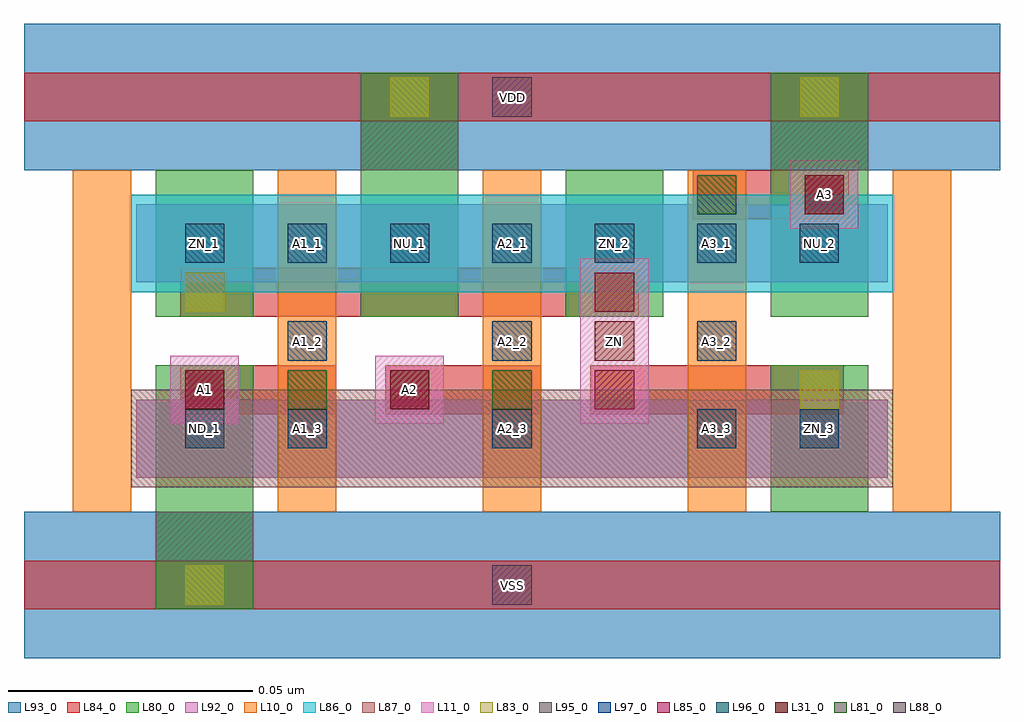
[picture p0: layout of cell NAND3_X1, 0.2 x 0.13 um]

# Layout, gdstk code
import gdstk
lib = gdstk.Library(unit=1e-6, precision=1e-09)
def R(c, l, rs):  # rectangles x0, y0, x1, y1
    for r in rs: c.add(gdstk.rectangle(r[:2], r[2:], *l))
def A(c, l, x, y, w, h, nx, ny, dx, dy):  # array of equal rectangles
    R(c, l, [(x+i*dx, y+j*dy, x+i*dx+w, y+j*dy+h) for i in range(nx) for j in range(ny)])
L10_0 = (10, 0)
L11_0 = (11, 0)
L31_0 = (31, 0)
L80_0 = (80, 0)
L81_0 = (81, 0)
L83_0 = (83, 0)
L84_0 = (84, 0)
L85_0 = (85, 0)
L86_0 = (86, 0)
L87_0 = (87, 0)
L88_0 = (88, 0)
L92_0 = (92, 0)
L93_0 = (93, 0)
L95_0 = (95, 0)
L96_0 = (96, 0)
L97_0 = (97, 0)

nand3_x1 = lib.new_cell('NAND3_X1')
A(nand3_x1, L10_0, -0.027, 0.015, 0.012, 0.07, 5, 1, 0.042, 0)
R(nand3_x1, L11_0, [(-0.007,0.033,0.007,0.047), (0.035,0.033,0.049,0.047), (0.077,0.033,0.091,0.067), (0.077,0.033,0.091,0.067), (0.12,0.073,0.134,0.087)])
R(nand3_x1, L31_0, [(-0.004,0.036,0.004,0.044), (0.038,0.036,0.046,0.044), (0.08,0.046,0.088,0.054), (0.123,0.076,0.131,0.084)])
A(nand3_x1, L80_0, -0.01, 0.055, 0.02, 0.03, 4, 1, 0.042, 0)
R(nand3_x1, L80_0, [(-0.01,-0.005,0.01,0.025), (-0.01,0.015,0.01,0.045), (0.116,0.015,0.136,0.045), (0.032,0.075,0.052,0.105), (0.116,0.075,0.136,0.105)])
R(nand3_x1, L81_0, [(0.017,0.036,0.025,0.044), (0.059,0.036,0.067,0.044), (0.101,0.076,0.109,0.084)])
R(nand3_x1, L83_0, [(-0.004,-0.004,0.004,0.004), (0.122,0.036,0.13,0.044), (0.122,0.036,0.13,0.044), (-0.004,0.056,0.004,0.064), (-0.004,0.056,0.004,0.064), (0.08,0.056,0.088,0.064), (0.08,0.056,0.088,0.064), (0.038,0.096,0.046,0.104), (0.038,0.096,0.046,0.104), (0.122,0.096,0.13,0.104)])
R(nand3_x1, L84_0, [(-0.037,-0.005,0.163,0.005), (-0.005,0.035,0.027,0.045), (0.037,0.035,0.069,0.045), (0.079,0.035,0.11,0.045), (0.079,0.035,0.11,0.045), (0.1,0.035,0.131,0.045), (0.1,0.035,0.131,0.045), (-0.005,0.055,0.026,0.065), (-0.005,0.055,0.026,0.065), (0.016,0.055,0.047,0.065), (0.016,0.055,0.047,0.065), (0.037,0.055,0.068,0.065), (0.037,0.055,0.068,0.065), (0.058,0.055,0.089,0.065), (0.058,0.055,0.089,0.065), (0.1,0.075,0.132,0.085), (-0.037,0.095,0.163,0.105)])
A(nand3_x1, L85_0, -0.004, 0.036, 0.008, 0.008, 3, 1, 0.042, 0)
R(nand3_x1, L85_0, [(0.08,0.036,0.088,0.044), (0.08,0.056,0.088,0.064), (0.08,0.056,0.088,0.064), (0.123,0.076,0.131,0.084)])
R(nand3_x1, L86_0, [(-0.015,0.06,0.141,0.08)])
R(nand3_x1, L87_0, [(-0.015,0.02,0.141,0.04)])
R(nand3_x1, L88_0, [(0.059,-0.004,0.067,0.004), (0.059,0.096,0.067,0.104)])
R(nand3_x1, L92_0, [(-0.014,0.022,0.14,0.038), (-0.014,0.062,0.14,0.078)])
R(nand3_x1, L93_0, [(-0.037,-0.015,0.163,0.015), (-0.037,0.085,0.163,0.115)])
R(nand3_x1, L95_0, [(-0.01,0.005,0.01,0.015), (0.032,0.085,0.052,0.095), (0.116,0.085,0.136,0.095)])
A(nand3_x1, L96_0, -0.004, 0.066, 0.008, 0.008, 4, 1, 0.042, 0)
R(nand3_x1, L96_0, [(-0.004,0.028,0.004,0.036), (0.122,0.028,0.13,0.036)])
A(nand3_x1, L97_0, 0.017, 0.028, 0.008, 0.008, 3, 2, 0.042, 0.018)
A(nand3_x1, L97_0, 0.017, 0.066, 0.008, 0.008, 3, 1, 0.042, 0)
nand3_x1.add(gdstk.Label('A1_1', (0.021,0.07), layer=97, texttype=0))
nand3_x1.add(gdstk.Label('A1_2', (0.021,0.05), layer=97, texttype=0))
nand3_x1.add(gdstk.Label('A1_3', (0.021,0.032), layer=97, texttype=0))
nand3_x1.add(gdstk.Label('A2_3', (0.063,0.032), layer=97, texttype=0))
nand3_x1.add(gdstk.Label('A2_2', (0.063,0.05), layer=97, texttype=0))
nand3_x1.add(gdstk.Label('A2_1', (0.063,0.07), layer=97, texttype=0))
nand3_x1.add(gdstk.Label('A3_3', (0.105,0.032), layer=97, texttype=0))
nand3_x1.add(gdstk.Label('A3_2', (0.105,0.05), layer=97, texttype=0))
nand3_x1.add(gdstk.Label('A3_1', (0.105,0.07), layer=97, texttype=0))
nand3_x1.add(gdstk.Label('ND_1', (0,0.032), layer=96, texttype=0))
nand3_x1.add(gdstk.Label('ZN_1', (0,0.07), layer=96, texttype=0))
nand3_x1.add(gdstk.Label('NU_1', (0.042,0.07), layer=96, texttype=0))
nand3_x1.add(gdstk.Label('ZN_2', (0.084,0.07), layer=96, texttype=0))
nand3_x1.add(gdstk.Label('ZN_3', (0.126,0.032), layer=96, texttype=0))
nand3_x1.add(gdstk.Label('NU_2', (0.126,0.07), layer=96, texttype=0))
nand3_x1.add(gdstk.Label('VSS', (0.063,0), layer=88, texttype=0))
nand3_x1.add(gdstk.Label('VDD', (0.063,0.1), layer=88, texttype=0))
nand3_x1.add(gdstk.Label('A3', (0.127,0.08), layer=31, texttype=0))
nand3_x1.add(gdstk.Label('A2', (0.042,0.04), layer=31, texttype=0))
nand3_x1.add(gdstk.Label('ZN', (0.084,0.05), layer=31, texttype=0))
nand3_x1.add(gdstk.Label('A1', (0,0.04), layer=31, texttype=0))

lib.write_gds('NAND3_X1.gds')
